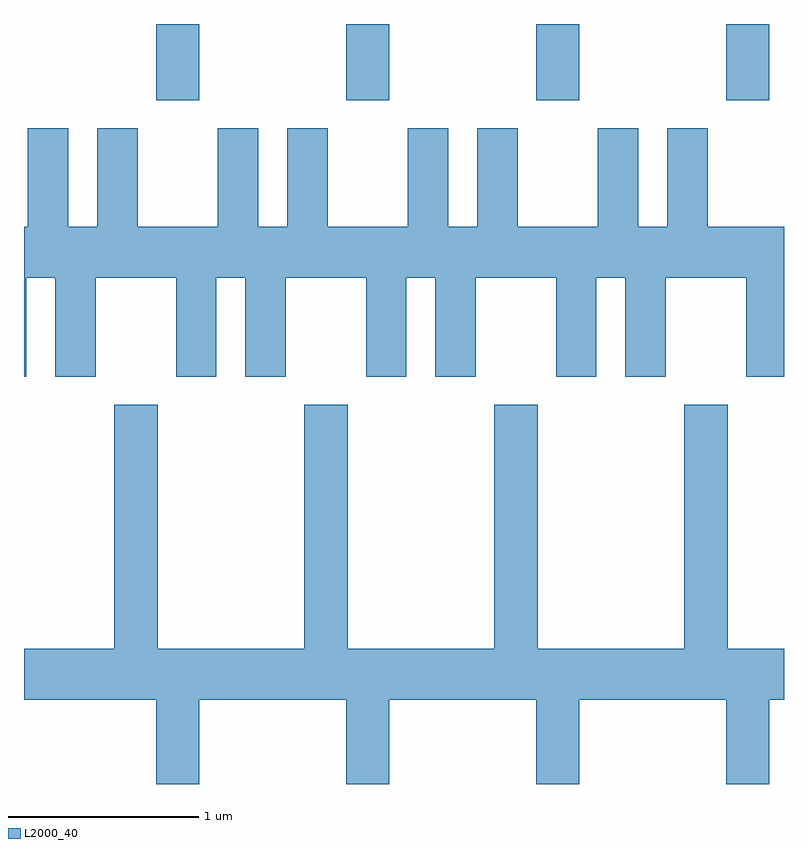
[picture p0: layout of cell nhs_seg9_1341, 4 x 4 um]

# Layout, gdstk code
import gdstk
lib = gdstk.Library(unit=1e-6, precision=1e-09)
def R(c, l, rs):  # rectangles x0, y0, x1, y1
    for r in rs: c.add(gdstk.rectangle(r[:2], r[2:], *l))
def A(c, l, x, y, w, h, nx, ny, dx, dy):  # array of equal rectangles
    R(c, l, [(x+i*dx, y+j*dy, x+i*dx+w, y+j*dy+h) for i in range(nx) for j in range(ny)])
def P(c, l, *ps):  # polygons
    for p in ps: c.add(gdstk.Polygon(p, *l))
L2000_40 = (2000, 40)

nhs_seg9_1341 = lib.new_cell('nhs_seg9_1341')
A(nhs_seg9_1341, L2000_40, 224.306, 2046.031, 0.228, 0.401, 4, 1, 1, 0)
P(nhs_seg9_1341, L2000_40, [(225.844,2045.884),(225.631,2045.884),(225.631,2045.364),(225.209,2045.364),(225.209,2045.884),(224.996,2045.884),(224.996,2045.364),(224.844,2045.364),(224.844,2045.884),(224.631,2045.884),(224.631,2045.364),(224.209,2045.364),(224.209,2045.884),(223.996,2045.884),(223.996,2045.364),(223.844,2045.364),(223.844,2045.884),(223.631,2045.884),(223.631,2045.364),(223.611,2045.364),(223.611,2044.576),(223.624,2044.576),(223.624,2045.096),(223.776,2045.096),(223.776,2044.576),(223.989,2044.576),(223.989,2045.096),(224.411,2045.096),(224.411,2044.576),(224.624,2044.576),(224.624,2045.096),(224.776,2045.096),(224.776,2044.576),(224.989,2044.576),(224.989,2045.096),(225.411,2045.096),(225.411,2044.576),(225.624,2044.576),(225.624,2045.096),(225.776,2045.096),(225.776,2044.576),(225.989,2044.576),(225.989,2045.096),(226.411,2045.096),(226.411,2044.576),(226.624,2044.576),(226.624,2045.096),(226.776,2045.096),(226.776,2044.576),(226.989,2044.576),(226.989,2045.096),(227.411,2045.096),(227.411,2044.576),(227.611,2044.576),(227.611,2045.364),(227.209,2045.364),(227.209,2045.884),(226.996,2045.884),(226.996,2045.364),(226.844,2045.364),(226.844,2045.884),(226.631,2045.884),(226.631,2045.364),(226.209,2045.364),(226.209,2045.884),(225.996,2045.884),(225.996,2045.364),(225.844,2045.364)],
  [(224.534,2042.876),(225.306,2042.876),(225.306,2042.432),(225.534,2042.432),(225.534,2042.876),(226.306,2042.876),(226.306,2042.432),(226.534,2042.432),(226.534,2042.876),(227.306,2042.876),(227.306,2042.432),(227.534,2042.432),(227.534,2042.876),(227.611,2042.876),(227.611,2043.144),(227.314,2043.144),(227.314,2044.429),(227.086,2044.429),(227.086,2043.144),(226.314,2043.144),(226.314,2044.429),(226.086,2044.429),(226.086,2043.144),(225.314,2043.144),(225.314,2044.429),(225.086,2044.429),(225.086,2043.144),(224.314,2043.144),(224.314,2044.429),(224.086,2044.429),(224.086,2043.144),(223.611,2043.144),(223.611,2042.876),(224.306,2042.876),(224.306,2042.432),(224.534,2042.432)])

lib.write_gds('nhs_seg9_1341.gds')
